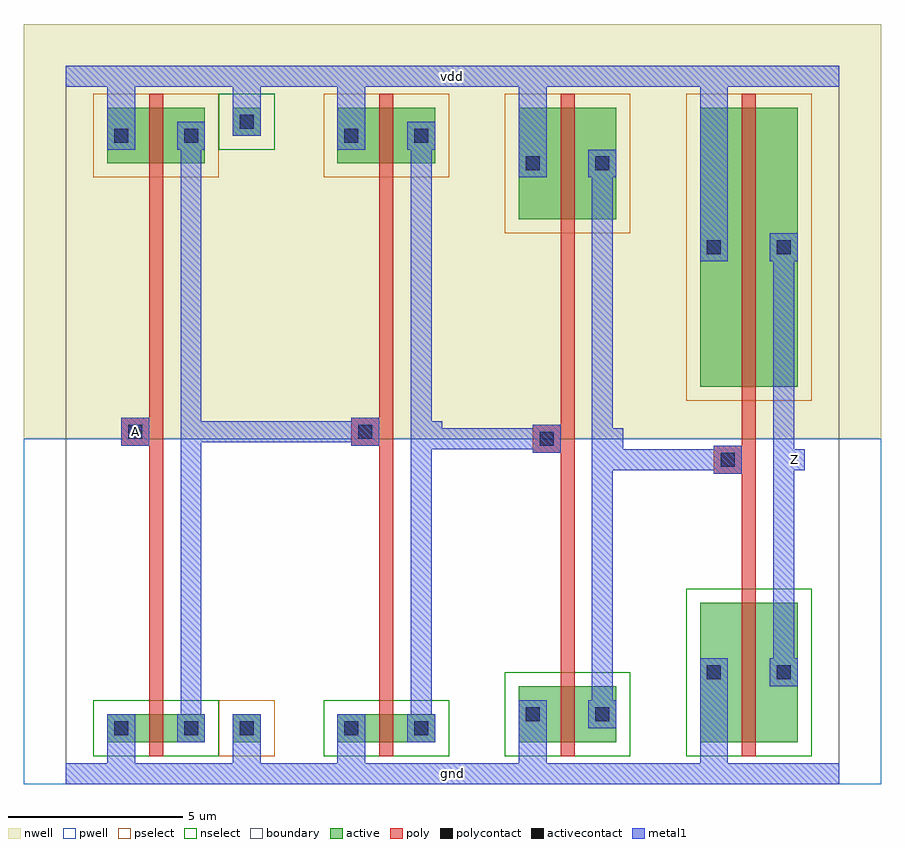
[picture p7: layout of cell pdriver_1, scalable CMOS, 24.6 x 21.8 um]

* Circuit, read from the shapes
.subckt pdriver_1 A Z gnd vdd
M1 pinv_9_1/A A gnd gnd nfet w=0.8u l=0.4u
M2 pinv_5_2/A pinv_9_1/A gnd gnd nfet w=0.8u l=0.4u
M3 pinv_7_3/A pinv_5_2/A gnd gnd nfet w=1.6u l=0.4u
M4 Z pinv_7_3/A gnd gnd nfet w=4u l=0.4u
M5 pinv_9_1/A A vdd vdd pfet w=1.6u l=0.4u
M6 pinv_5_2/A pinv_9_1/A vdd vdd pfet w=1.6u l=0.4u
M7 pinv_7_3/A pinv_5_2/A vdd vdd pfet w=3.2u l=0.4u
M8 Z pinv_7_3/A vdd vdd pfet w=8u l=0.4u
.ends

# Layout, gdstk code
import gdstk
lib = gdstk.Library(unit=1e-6, precision=1e-09)
def R(c, l, rs):  # rectangles x0, y0, x1, y1
    for r in rs: c.add(gdstk.rectangle(r[:2], r[2:], *l))
pwell = (41, 0)
nwell = (42, 0)
active = (43, 0)
pselect = (44, 0)
nselect = (45, 0)
poly = (46, 0)
polycontact = (47, 0)
activecontact = (48, 0)
metal1 = (49, 0)
boundary = (63, 0)

contact_9 = lib.new_cell('contact_9')
R(contact_9, nwell, [(-1.2,-1.2,2,2)])
R(contact_9, active, [(0,0,0.8,0.8)])
R(contact_9, pselect, [(-0.4,-0.4,1.2,1.2)])
R(contact_9, activecontact, [(0.2,0.2,0.6,0.6)])
R(contact_9, metal1, [(0,0,0.8,0.8)])
R(contact_9, boundary, [(-1.2,-1.2,2,2)])

pmos_m1_w1_600_sm1_dm1_d = lib.new_cell('pmos_m1_w1_600_sm1_dm1_da_p')
R(pmos_m1_w1_600_sm1_dm1_d, nwell, [(-1.2,-1.2,4,2.8)])
R(pmos_m1_w1_600_sm1_dm1_d, active, [(0,0,2.8,1.6)])
R(pmos_m1_w1_600_sm1_dm1_d, pselect, [(-0.4,-0.4,3.2,2)])
R(pmos_m1_w1_600_sm1_dm1_d, poly, [(1.2,-0.4,1.6,2), (1.2,-0.4,1.6,2)])
R(pmos_m1_w1_600_sm1_dm1_d, metal1, [(0,0.4,0.8,1.2), (2,0.4,2.8,1.2)])
R(pmos_m1_w1_600_sm1_dm1_d, boundary, [(-1.2,-1.2,4,2.8)])
pmos_m1_w1_600_sm1_dm1_d.add(gdstk.Reference(contact_9, (0,0.4)))
pmos_m1_w1_600_sm1_dm1_d.add(gdstk.Reference(contact_9, (2,0.4)))
pmos_m1_w1_600_sm1_dm1_d.add(gdstk.Label('G', (1.4,0.8), layer=46, texttype=0))
pmos_m1_w1_600_sm1_dm1_d.add(gdstk.Label('S', (0.4,0.8), layer=49, texttype=0))
pmos_m1_w1_600_sm1_dm1_d.add(gdstk.Label('D', (2.4,0.8), layer=49, texttype=0))

contact_14 = lib.new_cell('contact_14')
R(contact_14, pwell, [(-1.2,-1.2,2,2)])
R(contact_14, active, [(0,0,0.8,0.8)])
R(contact_14, nselect, [(-0.4,-0.4,1.2,1.2)])
R(contact_14, activecontact, [(0.2,0.2,0.6,0.6)])
R(contact_14, metal1, [(0,0,0.8,0.8)])
R(contact_14, boundary, [(-1.2,-1.2,2,2)])

nmos_m1_w0_800_sm1_dm1_d = lib.new_cell('nmos_m1_w0_800_sm1_dm1_da_p')
R(nmos_m1_w0_800_sm1_dm1_d, pwell, [(-1.2,-1.2,4,2)])
R(nmos_m1_w0_800_sm1_dm1_d, active, [(0,0,2.8,0.8)])
R(nmos_m1_w0_800_sm1_dm1_d, nselect, [(-0.4,-0.4,3.2,1.2)])
R(nmos_m1_w0_800_sm1_dm1_d, poly, [(1.2,-0.4,1.6,1.2), (1.2,-0.4,1.6,1.2)])
R(nmos_m1_w0_800_sm1_dm1_d, metal1, [(0,0,0.8,0.8), (2,0,2.8,0.8)])
R(nmos_m1_w0_800_sm1_dm1_d, boundary, [(-1.2,-1.2,4,2)])
nmos_m1_w0_800_sm1_dm1_d.add(gdstk.Reference(contact_14, (0,0)))
nmos_m1_w0_800_sm1_dm1_d.add(gdstk.Reference(contact_14, (2,0)))
nmos_m1_w0_800_sm1_dm1_d.add(gdstk.Label('G', (1.4,0.4), layer=46, texttype=0))
nmos_m1_w0_800_sm1_dm1_d.add(gdstk.Label('S', (0.4,0.4), layer=49, texttype=0))
nmos_m1_w0_800_sm1_dm1_d.add(gdstk.Label('D', (2.4,0.4), layer=49, texttype=0))

contact_15 = lib.new_cell('contact_15')
R(contact_15, nwell, [(-1.2,-1.2,2,2)])
R(contact_15, active, [(0,0,0.8,0.8)])
R(contact_15, nselect, [(-0.4,-0.4,1.2,1.2)])
R(contact_15, activecontact, [(0.2,0.2,0.6,0.6)])
R(contact_15, metal1, [(0,0,0.8,0.8)])
R(contact_15, boundary, [(-1.2,-1.2,2,2)])

contact_16 = lib.new_cell('contact_16')
R(contact_16, pwell, [(-1.2,-1.2,2,2)])
R(contact_16, active, [(0,0,0.8,0.8)])
R(contact_16, pselect, [(-0.4,-0.4,1.2,1.2)])
R(contact_16, activecontact, [(0.2,0.2,0.6,0.6)])
R(contact_16, metal1, [(0,0,0.8,0.8)])
R(contact_16, boundary, [(-1.2,-1.2,2,2)])

contact_10 = lib.new_cell('contact_10')
R(contact_10, poly, [(0,0,0.8,0.8)])
R(contact_10, polycontact, [(0.2,0.2,0.6,0.6)])
R(contact_10, metal1, [(0,0,0.8,0.8)])
R(contact_10, boundary, [(0,0,0.8,0.8)])

pinv_6 = lib.new_cell('pinv_6')
R(pinv_6, pwell, [(-1.2,-0.3,7.8,9.6)])
R(pinv_6, nwell, [(-1.2,9.6,7.8,21.5)])
R(pinv_6, poly, [(2.4,2.1,2.8,17.1), (2,9.4,2.4,10.2)])
R(pinv_6, metal1, [(0,-0.3,6.6,0.3), (1.2,-0.3,2,0.9), (4.8,0,5.6,1.3), (3.3,0.9,3.9,18.7), (1.6,9.4,2.4,10.2), (3.6,9.5,4.2,10.1), (1.2,17.9,2,20.3), (4.8,18.7,5.6,20), (0,19.7,6.6,20.3)])
R(pinv_6, boundary, [(0,0,6.6,20), (0,0,6.6,20)])
pinv_6.add(gdstk.Reference(pmos_m1_w1_600_sm1_dm1_d, (1.2,17.5)))
pinv_6.add(gdstk.Reference(nmos_m1_w0_800_sm1_dm1_d, (1.2,0.9)))
pinv_6.add(gdstk.Reference(contact_15, (4.8,18.3)))
pinv_6.add(gdstk.Reference(contact_16, (4.8,0.9)))
pinv_6.add(gdstk.Reference(contact_10, (1.6,9.4)))
pinv_6.add(gdstk.Label('A', (2,9.8), layer=49, texttype=0))
pinv_6.add(gdstk.Label('Z', (3.9,9.8), layer=49, texttype=0))
pinv_6.add(gdstk.Label('gnd', (3.3,0), layer=49, texttype=0))
pinv_6.add(gdstk.Label('vdd', (3.3,20), layer=49, texttype=0))

pinv_9 = lib.new_cell('pinv_9')
R(pinv_9, pwell, [(-1.2,-0.3,6.4,9.6)])
R(pinv_9, nwell, [(-1.2,9.6,6.4,21.5)])
R(pinv_9, poly, [(2.4,2.1,2.8,17.1), (2,9.4,2.4,10.2)])
R(pinv_9, metal1, [(0,-0.3,5.2,0.3), (1.2,-0.3,2,0.9), (3.3,0.9,3.9,18.7), (1.6,9.4,2.4,10.2), (3.6,9.5,4.2,10.1), (1.2,17.9,2,20.3), (0,19.7,5.2,20.3)])
R(pinv_9, boundary, [(0,0,5.2,20), (0,0,5.2,20)])
pinv_9.add(gdstk.Reference(pmos_m1_w1_600_sm1_dm1_d, (1.2,17.5)))
pinv_9.add(gdstk.Reference(nmos_m1_w0_800_sm1_dm1_d, (1.2,0.9)))
pinv_9.add(gdstk.Reference(contact_10, (1.6,9.4)))
pinv_9.add(gdstk.Label('A', (2,9.8), layer=49, texttype=0))
pinv_9.add(gdstk.Label('Z', (3.9,9.8), layer=49, texttype=0))
pinv_9.add(gdstk.Label('gnd', (2.6,0), layer=49, texttype=0))
pinv_9.add(gdstk.Label('vdd', (2.6,20), layer=49, texttype=0))

pmos_m1_w3_200_sm1_dm1_d = lib.new_cell('pmos_m1_w3_200_sm1_dm1_da_p')
R(pmos_m1_w3_200_sm1_dm1_d, nwell, [(-1.2,-1.2,4,4.4)])
R(pmos_m1_w3_200_sm1_dm1_d, active, [(0,0,2.8,3.2)])
R(pmos_m1_w3_200_sm1_dm1_d, pselect, [(-0.4,-0.4,3.2,3.6)])
R(pmos_m1_w3_200_sm1_dm1_d, poly, [(1.2,-0.4,1.6,3.6), (1.2,-0.4,1.6,3.6)])
R(pmos_m1_w3_200_sm1_dm1_d, metal1, [(0,1.2,0.8,2), (2,1.2,2.8,2)])
R(pmos_m1_w3_200_sm1_dm1_d, boundary, [(-1.2,-1.2,4,4.4)])
pmos_m1_w3_200_sm1_dm1_d.add(gdstk.Reference(contact_9, (0,1.2)))
pmos_m1_w3_200_sm1_dm1_d.add(gdstk.Reference(contact_9, (2,1.2)))
pmos_m1_w3_200_sm1_dm1_d.add(gdstk.Label('G', (1.4,1.6), layer=46, texttype=0))
pmos_m1_w3_200_sm1_dm1_d.add(gdstk.Label('S', (0.4,1.6), layer=49, texttype=0))
pmos_m1_w3_200_sm1_dm1_d.add(gdstk.Label('D', (2.4,1.6), layer=49, texttype=0))

nmos_m1_w1_600_sm1_dm1_d = lib.new_cell('nmos_m1_w1_600_sm1_dm1_da_p')
R(nmos_m1_w1_600_sm1_dm1_d, pwell, [(-1.2,-1.2,4,2.8)])
R(nmos_m1_w1_600_sm1_dm1_d, active, [(0,0,2.8,1.6)])
R(nmos_m1_w1_600_sm1_dm1_d, nselect, [(-0.4,-0.4,3.2,2)])
R(nmos_m1_w1_600_sm1_dm1_d, poly, [(1.2,-0.4,1.6,2), (1.2,-0.4,1.6,2)])
R(nmos_m1_w1_600_sm1_dm1_d, metal1, [(0,0.4,0.8,1.2), (2,0.4,2.8,1.2)])
R(nmos_m1_w1_600_sm1_dm1_d, boundary, [(-1.2,-1.2,4,2.8)])
nmos_m1_w1_600_sm1_dm1_d.add(gdstk.Reference(contact_14, (0,0.4)))
nmos_m1_w1_600_sm1_dm1_d.add(gdstk.Reference(contact_14, (2,0.4)))
nmos_m1_w1_600_sm1_dm1_d.add(gdstk.Label('G', (1.4,0.8), layer=46, texttype=0))
nmos_m1_w1_600_sm1_dm1_d.add(gdstk.Label('S', (0.4,0.8), layer=49, texttype=0))
nmos_m1_w1_600_sm1_dm1_d.add(gdstk.Label('D', (2.4,0.8), layer=49, texttype=0))

pinv_5 = lib.new_cell('pinv_5')
R(pinv_5, pwell, [(-1.2,-0.3,6.4,9.6)])
R(pinv_5, nwell, [(-1.2,9.6,6.4,21.5)])
R(pinv_5, poly, [(2.4,2.9,2.8,15.5), (2,9.2,2.4,10)])
R(pinv_5, metal1, [(0,-0.3,5.2,0.3), (1.2,-0.3,2,1.3), (3.3,1.3,3.9,17.9), (1.6,9.2,2.4,10), (3.6,9.3,4.2,9.9), (1.2,17.1,2,20.3), (0,19.7,5.2,20.3)])
R(pinv_5, boundary, [(0,0,5.2,20), (0,0,5.2,20)])
pinv_5.add(gdstk.Reference(pmos_m1_w3_200_sm1_dm1_d, (1.2,15.9)))
pinv_5.add(gdstk.Reference(nmos_m1_w1_600_sm1_dm1_d, (1.2,0.9)))
pinv_5.add(gdstk.Reference(contact_10, (1.6,9.2)))
pinv_5.add(gdstk.Label('A', (2,9.6), layer=49, texttype=0))
pinv_5.add(gdstk.Label('Z', (3.9,9.6), layer=49, texttype=0))
pinv_5.add(gdstk.Label('gnd', (2.6,0), layer=49, texttype=0))
pinv_5.add(gdstk.Label('vdd', (2.6,20), layer=49, texttype=0))

pmos_m1_w8_000_sm1_dm1_d = lib.new_cell('pmos_m1_w8_000_sm1_dm1_da_p')
R(pmos_m1_w8_000_sm1_dm1_d, nwell, [(-1.2,-1.2,4,9.2)])
R(pmos_m1_w8_000_sm1_dm1_d, active, [(0,0,2.8,8)])
R(pmos_m1_w8_000_sm1_dm1_d, pselect, [(-0.4,-0.4,3.2,8.4)])
R(pmos_m1_w8_000_sm1_dm1_d, poly, [(1.2,-0.4,1.6,8.4), (1.2,-0.4,1.6,8.4)])
R(pmos_m1_w8_000_sm1_dm1_d, metal1, [(0,3.6,0.8,4.4), (2,3.6,2.8,4.4)])
R(pmos_m1_w8_000_sm1_dm1_d, boundary, [(-1.2,-1.2,4,9.2)])
pmos_m1_w8_000_sm1_dm1_d.add(gdstk.Reference(contact_9, (0,3.6)))
pmos_m1_w8_000_sm1_dm1_d.add(gdstk.Reference(contact_9, (2,3.6)))
pmos_m1_w8_000_sm1_dm1_d.add(gdstk.Label('G', (1.4,4), layer=46, texttype=0))
pmos_m1_w8_000_sm1_dm1_d.add(gdstk.Label('S', (0.4,4), layer=49, texttype=0))
pmos_m1_w8_000_sm1_dm1_d.add(gdstk.Label('D', (2.4,4), layer=49, texttype=0))

nmos_m1_w4_000_sm1_dm1_d = lib.new_cell('nmos_m1_w4_000_sm1_dm1_da_p')
R(nmos_m1_w4_000_sm1_dm1_d, pwell, [(-1.2,-1.2,4,5.2)])
R(nmos_m1_w4_000_sm1_dm1_d, active, [(0,0,2.8,4)])
R(nmos_m1_w4_000_sm1_dm1_d, nselect, [(-0.4,-0.4,3.2,4.4)])
R(nmos_m1_w4_000_sm1_dm1_d, poly, [(1.2,-0.4,1.6,4.4), (1.2,-0.4,1.6,4.4)])
R(nmos_m1_w4_000_sm1_dm1_d, metal1, [(0,1.6,0.8,2.4), (2,1.6,2.8,2.4)])
R(nmos_m1_w4_000_sm1_dm1_d, boundary, [(-1.2,-1.2,4,5.2)])
nmos_m1_w4_000_sm1_dm1_d.add(gdstk.Reference(contact_14, (0,1.6)))
nmos_m1_w4_000_sm1_dm1_d.add(gdstk.Reference(contact_14, (2,1.6)))
nmos_m1_w4_000_sm1_dm1_d.add(gdstk.Label('G', (1.4,2), layer=46, texttype=0))
nmos_m1_w4_000_sm1_dm1_d.add(gdstk.Label('S', (0.4,2), layer=49, texttype=0))
nmos_m1_w4_000_sm1_dm1_d.add(gdstk.Label('D', (2.4,2), layer=49, texttype=0))

pinv_7 = lib.new_cell('pinv_7')
R(pinv_7, pwell, [(-1.2,-0.3,6.4,9.6)])
R(pinv_7, nwell, [(-1.2,9.6,6.4,21.5)])
R(pinv_7, poly, [(2.4,5.3,2.8,10.7), (2,8.6,2.4,9.4)])
R(pinv_7, metal1, [(0,-0.3,5.2,0.3), (1.2,-0.3,2,2.5), (3.3,2.5,3.9,15.5), (1.6,8.6,2.4,9.4), (3.6,8.7,4.2,9.3), (1.2,14.7,2,20.3), (0,19.7,5.2,20.3)])
R(pinv_7, boundary, [(0,0,5.2,20), (0,0,5.2,20)])
pinv_7.add(gdstk.Reference(pmos_m1_w8_000_sm1_dm1_d, (1.2,11.1)))
pinv_7.add(gdstk.Reference(nmos_m1_w4_000_sm1_dm1_d, (1.2,0.9)))
pinv_7.add(gdstk.Reference(contact_10, (1.6,8.6)))
pinv_7.add(gdstk.Label('A', (2,9), layer=49, texttype=0))
pinv_7.add(gdstk.Label('Z', (3.9,9), layer=49, texttype=0))
pinv_7.add(gdstk.Label('gnd', (2.6,0), layer=49, texttype=0))
pinv_7.add(gdstk.Label('vdd', (2.6,20), layer=49, texttype=0))

pdriver_1 = lib.new_cell('pdriver_1')
R(pdriver_1, pwell, [(-1.2,-0.3,23.4,9.6)])
R(pdriver_1, nwell, [(-1.2,9.6,23.4,21.5)])
R(pdriver_1, metal1, [(0,-0.3,22.2,0.3), (15.4,8.7,16,9.3), (15.7,8.7,19,9.3), (20.6,8.7,21.2,9.3), (15.4,9,16,9.6), (10.2,9.3,10.8,9.9), (10.5,9.3,13.8,9.9), (1.6,9.4,2.4,10.2), (3.9,9.5,8.6,10.1), (10.2,9.6,10.8,9.8), (0,19.7,22.2,20.3)])
R(pdriver_1, boundary, [(0,0,22.2,20), (0,0,22.2,20)])
pdriver_1.add(gdstk.Reference(pinv_6, (0,0)))
pdriver_1.add(gdstk.Reference(pinv_9, (6.6,0)))
pdriver_1.add(gdstk.Reference(pinv_5, (11.8,0)))
pdriver_1.add(gdstk.Reference(pinv_7, (17,0)))
pdriver_1.add(gdstk.Label('Z', (20.9,9), layer=49, texttype=0))
pdriver_1.add(gdstk.Label('A', (2,9.8), layer=49, texttype=0))
pdriver_1.add(gdstk.Label('gnd', (11.1,0), layer=49, texttype=0))
pdriver_1.add(gdstk.Label('vdd', (11.1,20), layer=49, texttype=0))

lib.write_gds('pdriver_1.gds')
